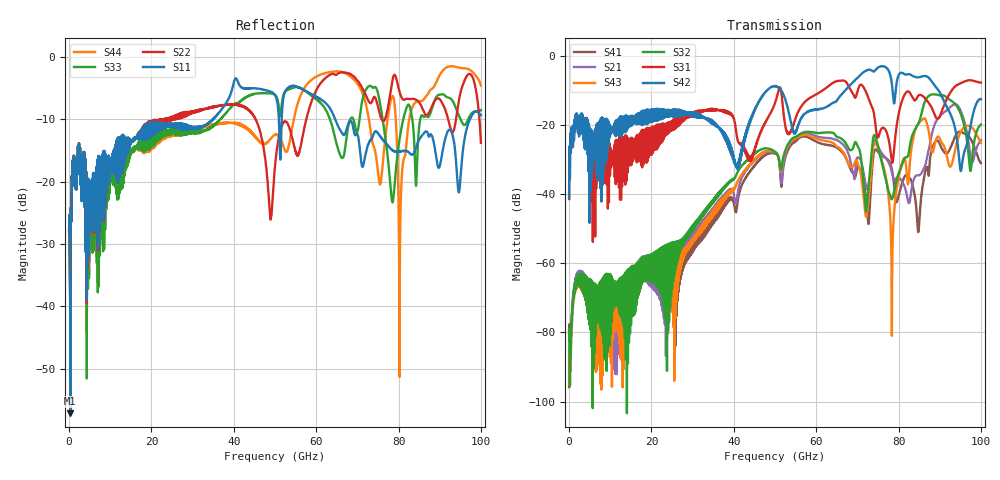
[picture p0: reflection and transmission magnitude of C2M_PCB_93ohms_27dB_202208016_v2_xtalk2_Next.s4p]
! Info: Touchstone file created by Circ.  Input file=Intel_C2M_200G_11p5in_202208016_staggered.circ
# Hz S RI R 50
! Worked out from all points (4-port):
!   10000 points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, 10 MHz to 100 GHz, reference 50 ohm
!   strongest paths, dB at 10 MHz, 25.01 GHz, 50.01 GHz, 75.01 GHz, 100 GHz:
!     S42: -41.1, -16.9, -8.7, -3.4, -12.5
!     S31: -41.4, -20.8, -13.6, -23.6, -7.7
!     S32: -79.1, -62.5, -27.9, -26.1, -19.8
!     S43: -87.2, -65.0, -27.9, -26.8, -25.1
!     S21: -80.1, -66.4, -28.0, -26.0, -24.4
!     S41: -95.8, -66.4, -28.2, -27.7, -31.0
!   lowest |S11| = -57.2 dB at 300 MHz (marker M1), VSWR 1.00, Z = 50.1 + j0.119 ohm
!   |S11| at or under -10 dB: start of sweep to 34.76 GHz; 50.94 GHz to 51.62 GHz (678 MHz wide, 1.32 % of centre); 64.63 GHz to 97.32 GHz (32.69 GHz wide, 40.4 % of centre)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
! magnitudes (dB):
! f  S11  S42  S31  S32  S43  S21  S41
! 10 MHz  -27.9  -41.1  -41.4  -79.1  -87.2  -80.1  -95.8
! 300 MHz  -57.2  -22.6  -22.6  -86.2  -89.4  -85.6  -85.6
! 56.32 GHz  -5.0  -18.2  -14.8  -22.5  -23.1  -22.5  -23.4
! 74.54 GHz  -11.9  -3.9  -21.3  -23.9  -25.4  -24.7  -27.1
! 78.42 GHz  -14.9  -8.4  -30.8  -41.4  -66.4  -33.8  -33.0
! 85.05 GHz  -13.2  -6.2  -11.3  -18.9  -19.3  -34.5  -47.7
! 100 GHz  -9.3  -12.5  -7.7  -19.8  -25.1  -24.4  -31.0
